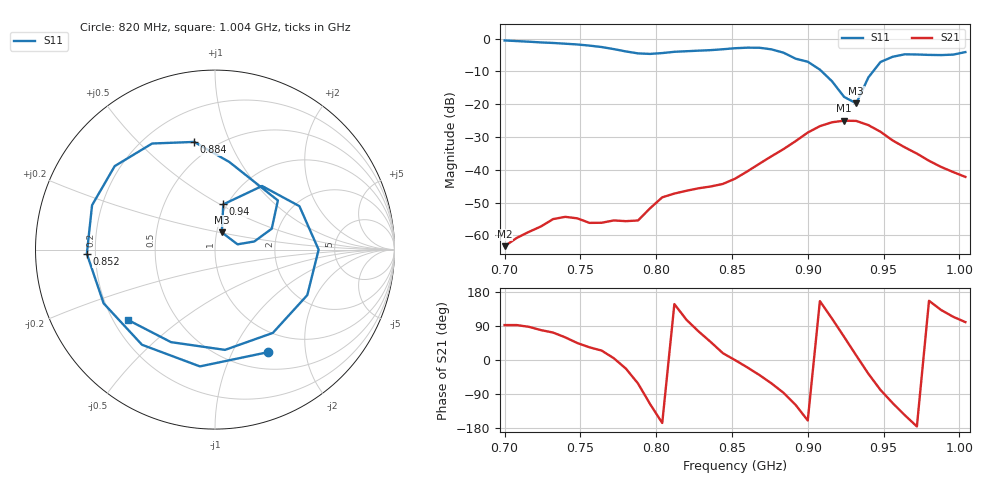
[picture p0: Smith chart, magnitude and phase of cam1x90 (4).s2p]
# Hz S RI R 50
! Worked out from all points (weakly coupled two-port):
!   39 points, 700 MHz to 1.004 GHz, reference 50 ohm
!   highest |S21| = -25.03 dB at 924 MHz (marker M1); lowest = -63.3 dB at 700 MHz (marker M2)
!   lowest |S11| = -19.7 dB at 932 MHz (marker M3), VSWR 1.23, Z = 52.9 + j10.2 ohm
!   |S11| at or under -10 dB: 909.2 MHz to 943.1 MHz (33.86 MHz wide, 3.66 % of centre)
!   S12 and S22 are empty: the file has one direction only
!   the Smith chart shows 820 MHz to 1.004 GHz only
!   S11 on the Smith chart (normalised r, x): 820 MHz: 0.71, -1.39; 852 MHz: 0.17, -0.02; 884 MHz: 0.39, +0.75; 940 MHz: 0.96, +0.52; 1.004 GHz: 0.26, -0.33
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7e8  0.7599 0.551  -2.63e-05 0.000681  0 0  0 0
7.24e8  0.8397 -0.2488  0.000263 0.00134  0 0  0 0
7.4e8  0.4568 -0.7013  0.000962 0.00165  0 0  0 0
7.56e8  -0.1912 -0.7595  0.00129 0.000852  0 0  0 0
7.72e8  -0.663 -0.202  0.00168 0.000141  0 0  0 0
7.8e8  -0.6003 0.2173  0.00152 -0.000633  0 0  0 0
7.88e8  -0.2622 0.5352  0.000793 -0.00148  0 0  0 0
7.96e8  0.2272 0.5392  -0.00115 -0.00231  0 0  0 0
8.04e8  0.57 0.1964  -0.00368 -0.000906  0 0  0 0
8.2e8  0.2941 -0.5717  -0.00132 0.00459  0 0  0 0
8.36e8  -0.4068 -0.5302  0.00376 0.00409  0 0  0 0
8.52e8  -0.714 -0.0234  0.00729 -2.68e-05  0 0  0 0
8.68e8  -0.5589 0.4651  0.00952 -0.0078  0 0  0 0
8.84e8  -0.116 0.5999  0.00128 -0.0206  0 0  0 0
9e8  0.3503 0.2738  -0.0346 -0.0129  0 0  0 0
9.08e8  0.3162 0.1164  -0.0421 0.0192  0 0  0 0
9.24e8  0.1257 0.0294  0.0272 0.049  0 0  0 0
9.32e8  0.0379 0.0958  0.0544 0.0114  0 0  0 0
9.4e8  0.0461 0.252  0.0386 -0.0284  0 0  0 0
9.56e8  0.4703 0.2419  -0.0112 -0.0257  0 0  0 0
9.8e8  0.3221 -0.4643  -0.0125 0.00551  0 0  0 0
1.004e9  -0.4859 -0.3914  -0.00135 0.00766  0 0  0 0
